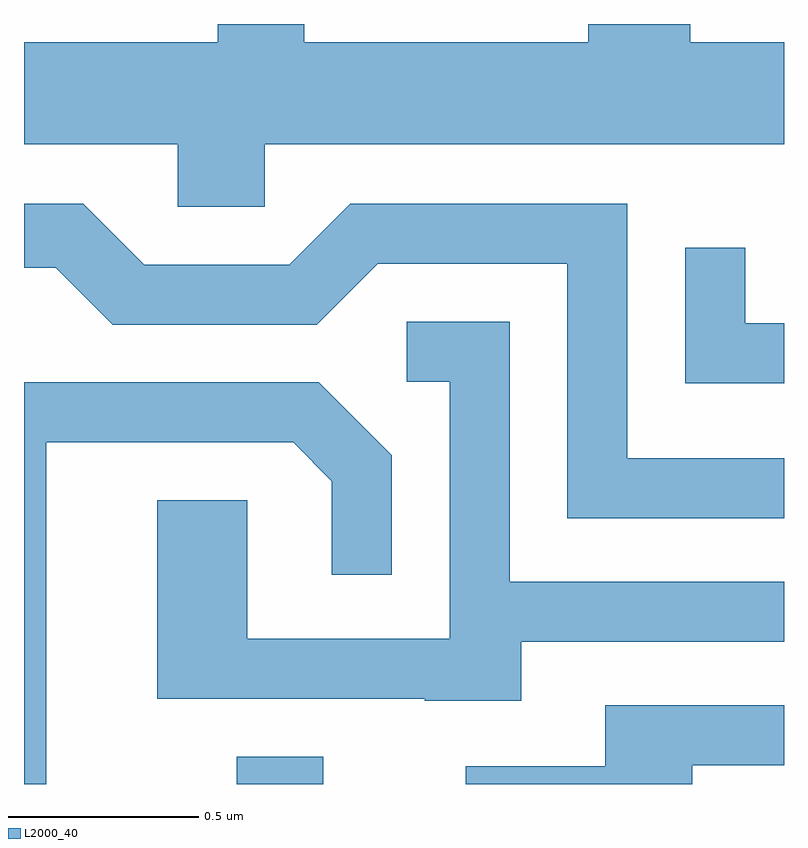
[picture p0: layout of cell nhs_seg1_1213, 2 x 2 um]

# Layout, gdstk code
import gdstk
lib = gdstk.Library(unit=1e-6, precision=1e-09)
def R(c, l, rs):  # rectangles x0, y0, x1, y1
    for r in rs: c.add(gdstk.rectangle(r[:2], r[2:], *l))
def P(c, l, *ps):  # polygons
    for p in ps: c.add(gdstk.Polygon(p, *l))
L2000_40 = (2000, 40)

nhs_seg1_1213 = lib.new_cell('nhs_seg1_1213')
R(nhs_seg1_1213, L2000_40, [(194.171,966.712,194.399,966.784)])
P(nhs_seg1_1213, L2000_40, [(194.244,968.396),(195.611,968.396),(195.611,968.664),(195.364,968.664),(195.364,968.712),(195.096,968.712),(195.096,968.664),(194.349,968.664),(194.349,968.712),(194.121,968.712),(194.121,968.664),(193.611,968.664),(193.611,968.396),(194.016,968.396),(194.016,968.231),(194.244,968.231)],
  [(195.611,967.569),(195.199,967.569),(195.199,968.239),(194.469,968.239),(194.309,968.079),(193.927,968.079),(193.767,968.239),(193.611,968.239),(193.611,968.071),(193.694,968.071),(193.844,967.921),(194.382,967.921),(194.542,968.081),(195.041,968.081),(195.041,967.411),(195.611,967.411)],
  [(195.611,967.924),(195.509,967.924),(195.509,968.123),(195.351,968.123),(195.351,967.766),(195.611,967.766)],
  [(194.919,967.086),(195.611,967.086),(195.611,967.244),(194.889,967.244),(194.889,967.929),(194.618,967.929),(194.618,967.771),(194.731,967.771),(194.731,967.094),(194.199,967.094),(194.199,967.459),(193.961,967.459),(193.961,966.936),(194.665,966.936),(194.665,966.931),(194.919,966.931)],
  [(193.669,967.611),(194.319,967.611),(194.421,967.509),(194.421,967.263),(194.579,967.263),(194.579,967.577),(194.387,967.769),(193.611,967.769),(193.611,966.712),(193.669,966.712)],
  [(195.369,966.761),(195.611,966.761),(195.611,966.919),(195.141,966.919),(195.141,966.759),(194.773,966.759),(194.773,966.712),(195.369,966.712)])

lib.write_gds('nhs_seg1_1213.gds')
